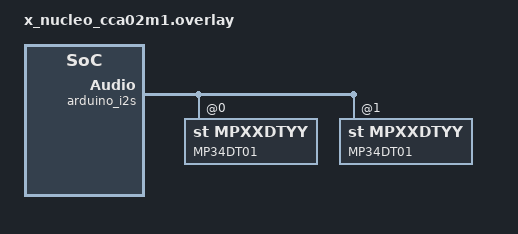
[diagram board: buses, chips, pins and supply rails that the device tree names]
/*
 * Copyright (c) 2019 STMicroelectronics
 *
 * SPDX-License-Identifier: Apache-2.0
 */

&arduino_i2s {
	mp34dt01@0 {
		compatible = "st,mpxxdtyy";
		reg = <0>;
		label = "MP34DT01";
	};

	mp34dt01@1 {
		compatible = "st,mpxxdtyy";
		reg = <1>;
		label = "MP34DT01";
	};
};
